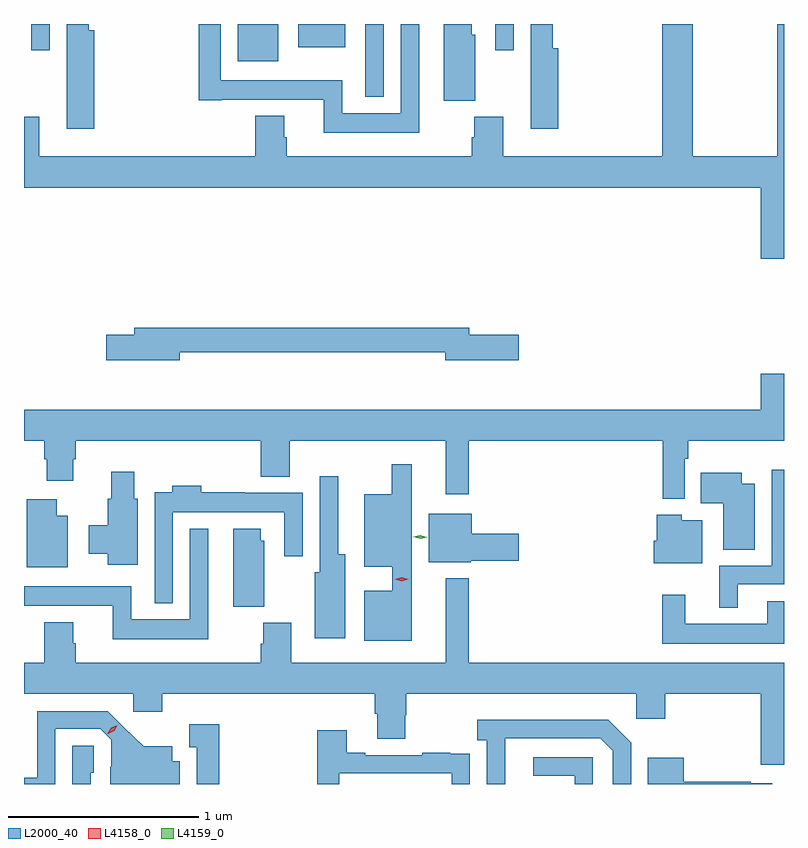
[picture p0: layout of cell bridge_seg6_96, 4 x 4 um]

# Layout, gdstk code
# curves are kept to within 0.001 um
import gdstk
lib = gdstk.Library(unit=1e-6, precision=1e-09)
def R(c, l, rs):  # rectangles x0, y0, x1, y1
    for r in rs: c.add(gdstk.rectangle(r[:2], r[2:], *l))
def P(c, l, *ps):  # polygons
    for p in ps: c.add(gdstk.Polygon(p, *l))
L2000_40 = (2000, 40)
L4158_0 = (4158, 0)
L4159_0 = (4159, 0)

bridge_seg6_96 = lib.new_cell('bridge_seg6_96')
R(bridge_seg6_96, L2000_40, [(630.459,941.153,630.555,941.537), (629.786,941.342,630.001,941.537), (628.701,941.4,628.797,941.537), (631.143,941.4,631.239,941.537), (630.105,941.414,630.352,941.537)])
P(bridge_seg6_96, L2000_40, [(630.742,941.537),(630.645,941.537),(630.645,941.068),(630.336,941.068),(630.336,941.242),(629.697,941.242),(629.697,941.537),(629.581,941.537),(629.581,941.136),(629.704,941.136),(629.704,941.138),(630.239,941.138),(630.239,940.964),(630.742,940.964)],
  [(631.475,941.41),(631.445,941.41),(631.445,941.537),(631.329,941.537),(631.329,941.306),(631.328,941.306),(631.328,940.986),(631.475,940.986)],
  [(631.036,941.481),(631.018,941.481),(631.018,941.537),(630.872,941.537),(630.872,941.134),(631.036,941.134)],
  [(632.662,941.537),(632.626,941.537),(632.626,940.84),(632.181,940.84),(632.181,941.537),(632.021,941.537),(632.021,940.84),(631.184,940.84),(631.184,941.049),(631.031,941.049),(631.031,940.94),(631.019,940.94),(631.019,940.84),(630.044,940.84),(630.044,940.941),(630.031,940.941),(630.031,941.053),(629.879,941.053),(629.879,940.84),(628.742,940.84),(628.742,941.049),(628.662,941.049),(628.662,940.676),(632.54,940.676),(632.54,940.302),(632.662,940.302)],
  [(629.033,941.503),(629.003,941.503),(629.003,941.537),(628.887,941.537),(628.887,941.399),(628.886,941.399),(628.886,940.986),(629.033,940.986)],
  [(629.482,939.81),(630.878,939.81),(630.878,939.767),(631.267,939.767),(631.267,939.902),(631.006,939.902),(631.006,939.938),(629.243,939.938),(629.243,939.902),(629.094,939.902),(629.094,939.767),(629.482,939.767)],
  [(632.139,939.248),(632.159,939.248),(632.159,939.344),(632.662,939.344),(632.662,939.697),(632.54,939.697),(632.54,939.508),(628.662,939.508),(628.662,939.344),(628.769,939.344),(628.769,939.246),(628.781,939.246),(628.781,939.132),(628.921,939.132),(628.921,939.246),(628.934,939.246),(628.934,939.344),(629.909,939.344),(629.909,939.155),(630.061,939.155),(630.061,939.344),(630.881,939.344),(630.881,939.063),(631.003,939.063),(631.003,939.344),(632.023,939.344),(632.023,939.038),(632.139,939.038)],
  [(630.703,939.22),(630.597,939.22),(630.597,939.061),(630.452,939.061),(630.452,938.681),(630.599,938.681),(630.599,938.554),(630.452,938.554),(630.452,938.291),(630.703,938.291)],
  [(632.419,938.589),(632.662,938.589),(632.662,939.19),(632.598,939.19),(632.598,938.685),(632.321,938.685),(632.321,938.465),(632.419,938.465)],
  [(629.26,939.039),(629.242,939.039),(629.242,939.181),(629.12,939.181),(629.12,939.039),(629.102,939.039),(629.102,938.898),(629.003,938.898),(629.003,938.75),(629.102,938.75),(629.102,938.691),(629.26,938.691)],
  [(632.509,939.118),(632.44,939.118),(632.44,939.175),(632.224,939.175),(632.224,939.014),(632.342,939.014),(632.342,938.77),(632.509,938.77)],
  [(630.352,938.746),(630.316,938.746),(630.316,939.157),(630.219,939.157),(630.219,938.652),(630.191,938.652),(630.191,938.304),(630.352,938.304)],
  [(629.445,938.966),(630.033,938.966),(630.033,938.736),(630.129,938.736),(630.129,939.07),(629.825,939.07),(629.825,939.073),(629.594,939.073),(629.594,939.106),(629.441,939.106),(629.441,939.073),(629.349,939.073),(629.349,938.489),(629.445,938.489)],
  [(628.891,938.95),(628.834,938.95),(628.834,939.037),(628.676,939.037),(628.676,938.678),(628.891,938.678)],
  [(631.014,938.711),(631.267,938.711),(631.267,938.853),(631.018,938.853),(631.018,938.959),(630.791,938.959),(630.791,938.705),(631.014,938.705)],
  [(632.233,938.926),(632.124,938.926),(632.124,938.953),(631.991,938.953),(631.991,938.817),(631.976,938.817),(631.976,938.699),(632.233,938.699)],
  [(629.632,938.881),(629.535,938.881),(629.535,938.404),(629.226,938.404),(629.226,938.578),(628.662,938.578),(628.662,938.474),(629.129,938.474),(629.129,938.3),(629.632,938.3)],
  [(629.926,938.817),(629.908,938.817),(629.908,938.881),(629.762,938.881),(629.762,938.47),(629.926,938.47)],
  [(630.509,937.906),(630.521,937.906),(630.521,937.774),(630.669,937.774),(630.669,937.899),(630.674,937.899),(630.674,938.012),(631.884,938.012),(631.884,937.881),(632.036,937.881),(632.036,938.012),(632.54,938.012),(632.54,937.638),(632.662,937.638),(632.662,938.176),(631.003,938.176),(631.003,938.62),(630.881,938.62),(630.881,938.176),(630.069,938.176),(630.069,938.385),(629.921,938.385),(629.921,938.276),(629.909,938.276),(629.909,938.176),(628.934,938.176),(628.934,938.277),(628.921,938.277),(628.921,938.389),(628.769,938.389),(628.769,938.176),(628.662,938.176),(628.662,938.012),(629.238,938.012),(629.238,937.917),(629.39,937.917),(629.39,938.012),(630.509,938.012)],
  [(632.662,938.499),(632.573,938.499),(632.573,938.38),(632.143,938.38),(632.143,938.533),(632.022,938.533),(632.022,938.276),(632.662,938.276)],
  [(628.827,937.827),(629.064,937.827),(629.121,937.77),(629.121,937.628),(629.117,937.628),(629.117,937.537),(629.482,937.537),(629.482,937.657),(629.443,937.657),(629.443,937.735),(629.291,937.735),(629.104,937.92),(628.731,937.92),(628.731,937.569),(628.662,937.569),(628.662,937.537),(628.827,937.537)],
  [(631.194,937.579),(631.195,937.779),(631.695,937.779),(631.761,937.713),(631.761,937.537),(631.857,937.537),(631.857,937.755),(631.736,937.876),(631.047,937.876),(631.047,937.766),(631.098,937.766),(631.098,937.537),(631.194,937.537)],
  [(629.689,937.852),(629.531,937.852),(629.531,937.731),(629.57,937.731),(629.57,937.537),(629.689,937.537)],
  [(630.321,937.593),(630.912,937.593),(630.912,937.537),(631.008,937.537),(631.008,937.586),(631.007,937.586),(631.007,937.695),(630.905,937.695),(630.905,937.702),(630.757,937.702),(630.757,937.689),(630.457,937.689),(630.457,937.702),(630.361,937.702),(630.361,937.819),(630.205,937.819),(630.205,937.537),(630.321,937.537)],
  [(629.013,937.596),(629.028,937.596),(629.028,937.739),(628.917,937.739),(628.917,937.537),(629.013,937.537)],
  [(631.656,937.677),(631.341,937.677),(631.341,937.581),(631.56,937.581),(631.56,937.537),(631.656,937.537)],
  [(632.599,937.54),(632.486,937.54),(632.486,937.548),(632.134,937.548),(632.134,937.675),(631.946,937.675),(631.946,937.537),(632.599,937.537)])
P(bridge_seg6_96, L4158_0, [(630.649,938.604),(630.613,938.614),(630.613,938.614),(630.613,938.615),(630.649,938.624),(630.684,938.614),(630.684,938.614),(630.684,938.614)],
  [(629.104,937.802),(629.104,937.803),(629.122,937.832),(629.153,937.847),(629.153,937.847),(629.153,937.847),(629.136,937.818),(629.105,937.802)])
P(bridge_seg6_96, L4159_0, [(630.747,938.827),(630.71,938.838),(630.71,938.838),(630.71,938.838),(630.748,938.847),(630.785,938.837),(630.785,938.836),(630.785,938.836)])

lib.write_gds('bridge_seg6_96.gds')
